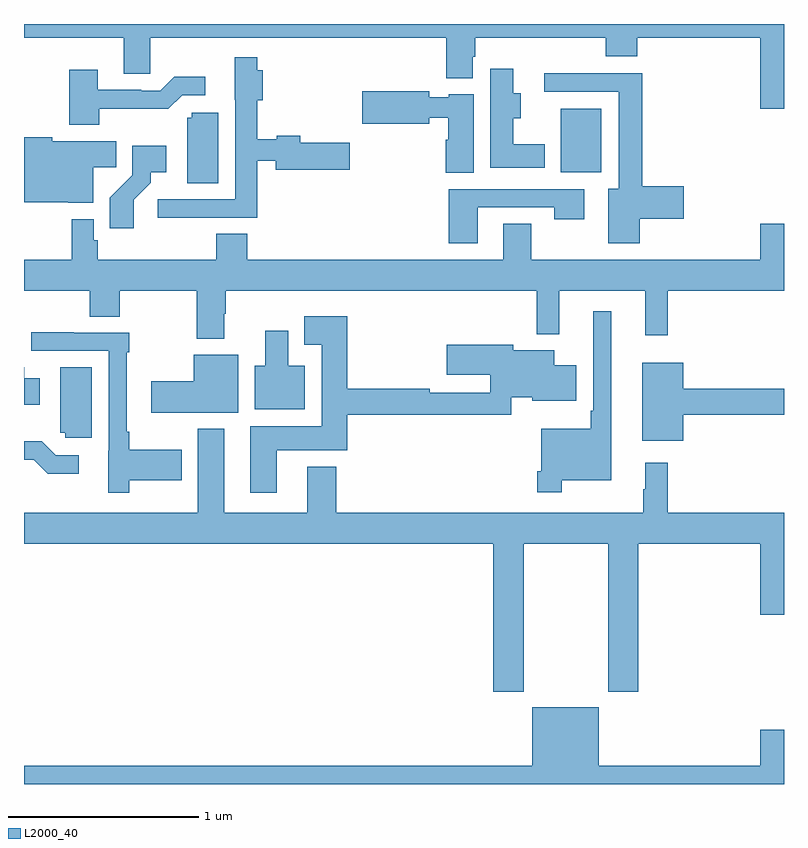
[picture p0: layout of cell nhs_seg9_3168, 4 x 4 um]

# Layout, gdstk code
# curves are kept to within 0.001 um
import gdstk
lib = gdstk.Library(unit=1e-6, precision=1e-09)
def R(c, l, rs):  # rectangles x0, y0, x1, y1
    for r in rs: c.add(gdstk.rectangle(r[:2], r[2:], *l))
def P(c, l, *ps):  # polygons
    for p in ps: c.add(gdstk.Polygon(p, *l))
L2000_40 = (2000, 40)

nhs_seg9_3168 = lib.new_cell('nhs_seg9_3168')
R(nhs_seg9_3168, L2000_40, [(295.826,1187.72,296.038,1188.055)])
P(nhs_seg9_3168, L2000_40, [(297,1188.5),(293,1188.5),(293,1188.428),(293.525,1188.428),(293.525,1188.238),(293.664,1188.238),(293.664,1188.428),(295.223,1188.428),(295.223,1188.215),(295.363,1188.215),(295.363,1188.327),(295.376,1188.327),(295.376,1188.428),(296.063,1188.428),(296.063,1188.329),(296.228,1188.329),(296.228,1188.428),(296.876,1188.428),(296.876,1188.054),(297,1188.054)],
  [(293.927,1187.481),(294.227,1187.481),(294.227,1187.78),(294.326,1187.78),(294.326,1187.734),(294.715,1187.734),(294.715,1187.876),(294.454,1187.876),(294.454,1187.912),(294.33,1187.912),(294.33,1187.894),(294.227,1187.894),(294.227,1188.098),(294.257,1188.098),(294.257,1188.256),(294.227,1188.256),(294.227,1188.325),(294.11,1188.325),(294.11,1188.102),(294.111,1188.102),(294.111,1187.577),(293.703,1187.577),(293.703,1187.479),(293.927,1187.479)],
  [(295.741,1187.866),(295.576,1187.866),(295.576,1188.005),(295.615,1188.005),(295.615,1188.135),(295.576,1188.135),(295.576,1188.265),(295.454,1188.265),(295.454,1187.744),(295.741,1187.744)],
  [(293.397,1188.054),(293.759,1188.053),(293.832,1188.126),(293.953,1188.126),(293.953,1188.223),(293.791,1188.223),(293.718,1188.15),(293.618,1188.15),(293.618,1188.153),(293.389,1188.153),(293.389,1188.259),(293.237,1188.259),(293.237,1187.969),(293.397,1187.969)],
  [(296.242,1187.474),(296.473,1187.474),(296.473,1187.645),(296.255,1187.645),(296.255,1188.242),(295.737,1188.242),(295.737,1188.144),(296.129,1188.144),(296.129,1187.632),(296.075,1187.632),(296.075,1187.346),(296.242,1187.346)],
  [(295.366,1188.13),(295.236,1188.13),(295.236,1188.114),(295.132,1188.114),(295.132,1188.145),(294.78,1188.145),(294.78,1187.975),(295.132,1187.975),(295.132,1188.006),(295.232,1188.006),(295.232,1187.891),(295.22,1187.891),(295.22,1187.716),(295.366,1187.716)],
  [(294.022,1188.033),(293.883,1188.033),(293.883,1188.006),(293.858,1188.006),(293.858,1187.662),(294.022,1187.662)],
  [(293.365,1187.746),(293.486,1187.746),(293.486,1187.884),(293.148,1187.884),(293.148,1187.905),(293,1187.905),(293,1187.561),(293.232,1187.561),(293.232,1187.558),(293.365,1187.558)],
  [(293.578,1187.575),(293.668,1187.665),(293.668,1187.72),(293.749,1187.72),(293.749,1187.86),(293.571,1187.86),(293.571,1187.705),(293.452,1187.586),(293.452,1187.424),(293.578,1187.424)],
  [(295.387,1187.535),(295.792,1187.535),(295.792,1187.472),(295.948,1187.472),(295.948,1187.631),(295.235,1187.631),(295.235,1187.346),(295.387,1187.346)],
  [(294.055,1186.976),(294.063,1186.976),(294.063,1187.096),(295.699,1187.096),(295.699,1186.868),(295.817,1186.868),(295.817,1187.096),(296.27,1187.096),(296.27,1186.863),(296.387,1186.863),(296.387,1187.096),(297,1187.096),(297,1187.449),(296.876,1187.449),(296.876,1187.26),(295.671,1187.26),(295.671,1187.45),(295.523,1187.45),(295.523,1187.26),(294.176,1187.26),(294.176,1187.396),(294.011,1187.396),(294.011,1187.26),(293.387,1187.26),(293.387,1187.361),(293.367,1187.361),(293.367,1187.473),(293.251,1187.473),(293.251,1187.26),(293,1187.26),(293,1187.096),(293.345,1187.096),(293.345,1186.96),(293.505,1186.96),(293.505,1187.096),(293.908,1187.096),(293.908,1186.844),(294.055,1186.844)],
  [(295.831,1186.1),(296.092,1186.1),(296.092,1186.987),(295.995,1186.987),(295.995,1186.465),(295.983,1186.465),(295.983,1186.369),(295.722,1186.369),(295.722,1186.147),(295.702,1186.147),(295.702,1186.035),(295.831,1186.035)],
  [(294.331,1186.256),(294.701,1186.256),(294.701,1186.444),(295.564,1186.444),(295.564,1186.535),(295.674,1186.535),(295.674,1186.517),(295.906,1186.517),(295.906,1186.705),(295.792,1186.705),(295.792,1186.783),(295.576,1186.783),(295.576,1186.813),(295.224,1186.813),(295.224,1186.655),(295.454,1186.655),(295.454,1186.56),(295.136,1186.56),(295.136,1186.58),(294.701,1186.58),(294.701,1186.963),(294.476,1186.963),(294.476,1186.811),(294.566,1186.811),(294.566,1186.384),(294.191,1186.384),(294.191,1186.032),(294.331,1186.032)],
  [(294.478,1186.702),(294.391,1186.702),(294.391,1186.885),(294.269,1186.885),(294.269,1186.702),(294.215,1186.702),(294.215,1186.472),(294.478,1186.472)],
  [(293.554,1186.1),(293.83,1186.1),(293.83,1186.258),(293.554,1186.258),(293.554,1186.354),(293.541,1186.354),(293.541,1186.772),(293.554,1186.772),(293.554,1186.875),(293.261,1186.875),(293.261,1186.878),(293.037,1186.878),(293.037,1186.779),(293.445,1186.779),(293.445,1186.254),(293.444,1186.254),(293.444,1186.032),(293.554,1186.032)],
  [(294.127,1186.759),(293.894,1186.759),(293.894,1186.62),(293.67,1186.62),(293.67,1186.454),(294.127,1186.454)],
  [(296.47,1186.444),(297,1186.444),(297,1186.58),(296.47,1186.58),(296.47,1186.717),(296.255,1186.717),(296.255,1186.307),(296.47,1186.307)],
  [(293.356,1186.694),(293.192,1186.694),(293.192,1186.35),(293.217,1186.35),(293.217,1186.323),(293.356,1186.323)],
  [(293.083,1186.636),(293.002,1186.636),(293.002,1186.691),(293,1186.693),(293,1186.496),(293.083,1186.496)],
  [(295.629,1185.764),(296.074,1185.764),(296.074,1184.985),(296.234,1184.985),(296.234,1185.764),(296.876,1185.764),(296.876,1185.39),(297,1185.39),(297,1185.928),(296.387,1185.928),(296.387,1186.192),(296.27,1186.192),(296.27,1186.052),(296.259,1186.052),(296.259,1185.928),(294.644,1185.928),(294.644,1186.171),(294.491,1186.171),(294.491,1185.928),(294.055,1185.928),(294.055,1186.369),(293.915,1186.369),(293.915,1185.928),(293,1185.928),(293,1185.764),(295.469,1185.764),(295.469,1184.985),(295.629,1184.985)],
  [(293.287,1186.23),(293.166,1186.23),(293.093,1186.303),(293,1186.303),(293,1186.206),(293.052,1186.206),(293.125,1186.133),(293.287,1186.133)],
  [(297,1184.785),(296.876,1184.785),(296.876,1184.596),(296.026,1184.596),(296.026,1184.905),(295.676,1184.905),(295.676,1184.596),(293,1184.596),(293,1184.5),(297,1184.5)])

lib.write_gds('nhs_seg9_3168.gds')
